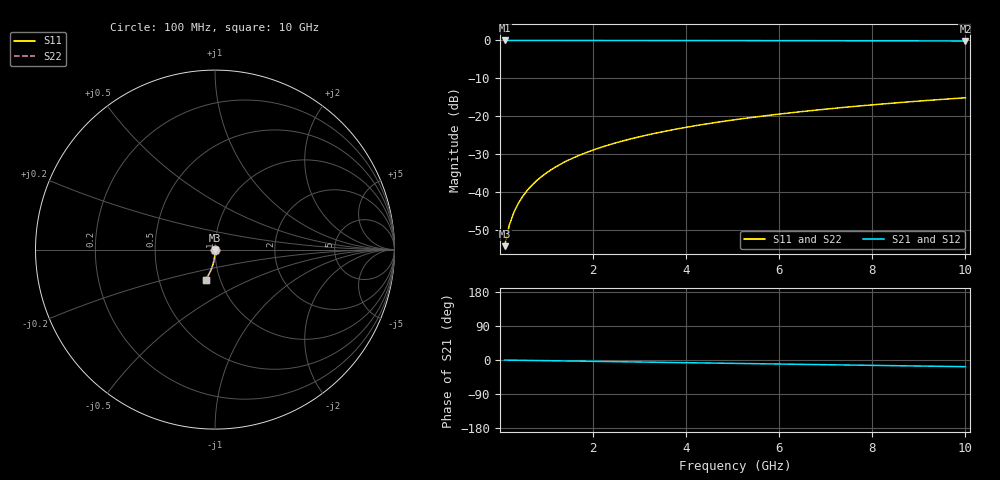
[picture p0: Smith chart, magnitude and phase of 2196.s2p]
# Hz S RI R 50.00
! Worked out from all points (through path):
!   100 points, 100 MHz to 10 GHz, reference 50 ohm
!   highest |S21| = -0.01 dB at 100 MHz (marker M1); lowest = -0.1 dB at 10 GHz (marker M2)
!   group delay of S21, straight-line fit = 4.9 ps
!   lowest |S11| = -54.2 dB at 100 MHz (marker M3), VSWR 1.00, Z = 50.1 - j0.18 ohm
!   |S11| at or under -10 dB: start of sweep to end of sweep
!   |S22| runs from -54.2 to -15.1 dB; largest |S21 - S12| = 0
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1e8  0.000733 -0.0018  0.9992 -0.0031  0.9992 -0.0031  0.000733 -0.0018
2e8  0.000719 -0.0036  0.9992 -0.0062  0.9992 -0.0062  0.000719 -0.0036
3e8  0.000692 -0.00539  0.9992 -0.00929  0.9992 -0.00929  0.000692 -0.00539
4e8  0.000654 -0.00719  0.9991 -0.0124  0.9991 -0.0124  0.000654 -0.00719
5e8  0.000604 -0.00899  0.9991 -0.0155  0.9991 -0.0155  0.000604 -0.00899
6e8  0.000543 -0.0108  0.999 -0.0186  0.999 -0.0186  0.000543 -0.0108
7e8  0.00047 -0.0126  0.9989 -0.0217  0.9989 -0.0217  0.00047 -0.0126
8e8  0.000386 -0.0144  0.9988 -0.0248  0.9988 -0.0248  0.000386 -0.0144
9e8  0.000291 -0.0162  0.9987 -0.0279  0.9987 -0.0279  0.000291 -0.0162
1.1e9  6.7e-05 -0.0198  0.9984 -0.0341  0.9984 -0.0341  6.7e-05 -0.0198
1.4e9  -0.000353 -0.0251  0.9979 -0.0433  0.9979 -0.0433  -0.000353 -0.0251
1.8e9  -0.00107 -0.0323  0.9971 -0.0557  0.9971 -0.0557  -0.00107 -0.0323
2.1e9  -0.00172 -0.0376  0.9963 -0.065  0.9963 -0.065  -0.00172 -0.0376
2.5e9  -0.00275 -0.0447  0.9952 -0.0773  0.9952 -0.0773  -0.00275 -0.0447
2.9e9  -0.00395 -0.0518  0.9938 -0.0896  0.9938 -0.0896  -0.00395 -0.0518
3.4e9  -0.00569 -0.0606  0.9917 -0.1049  0.9917 -0.1049  -0.00569 -0.0606
4.2e9  -0.00905 -0.0746  0.9878 -0.1292  0.9878 -0.1292  -0.00905 -0.0746
5.1e9  -0.0136 -0.09  0.9825 -0.1564  0.9825 -0.1564  -0.0136 -0.09
5.9e9  -0.0184 -0.1035  0.977 -0.1803  0.977 -0.1803  -0.0184 -0.1035
6.7e9  -0.0238 -0.1167  0.9707 -0.2039  0.9707 -0.2039  -0.0238 -0.1167
8.4e9  -0.0374 -0.1436  0.9549 -0.2531  0.9549 -0.2531  -0.0374 -0.1436
1e10  -0.0525 -0.1674  0.9372 -0.2979  0.9372 -0.2979  -0.0525 -0.1674
